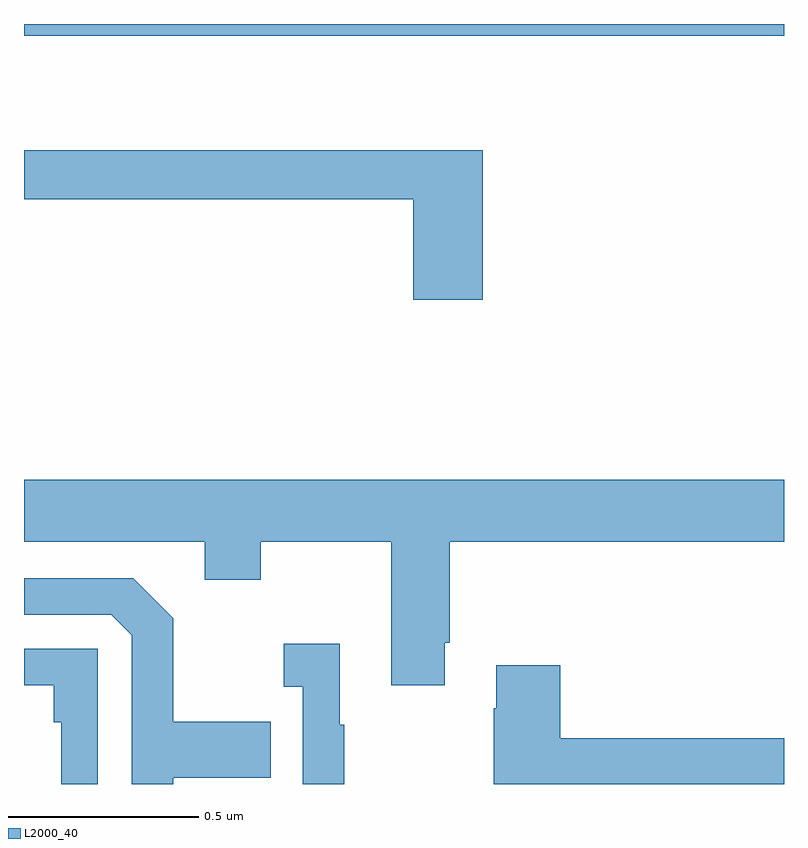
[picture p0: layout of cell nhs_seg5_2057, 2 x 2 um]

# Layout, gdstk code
import gdstk
lib = gdstk.Library(unit=1e-6, precision=1e-09)
def R(c, l, rs):  # rectangles x0, y0, x1, y1
    for r in rs: c.add(gdstk.rectangle(r[:2], r[2:], *l))
def P(c, l, *ps):  # polygons
    for p in ps: c.add(gdstk.Polygon(p, *l))
L2000_40 = (2000, 40)

nhs_seg5_2057 = lib.new_cell('nhs_seg5_2057')
R(nhs_seg5_2057, L2000_40, [(139,848.768,141,848.799)])
P(nhs_seg5_2057, L2000_40, [(140.207,848.467),(139,848.467),(139,848.338),(140.024,848.338),(140.024,848.073),(140.207,848.073)],
  [(140.107,847.171),(140.12,847.171),(140.12,847.436),(141,847.436),(141,847.6),(139,847.6),(139,847.436),(139.475,847.436),(139.475,847.337),(139.623,847.337),(139.623,847.436),(139.967,847.436),(139.967,847.059),(140.107,847.059)],
  [(139.393,846.815),(139.649,846.815),(139.649,846.963),(139.393,846.963),(139.393,847.235),(139.287,847.341),(139,847.341),(139,847.245),(139.23,847.245),(139.284,847.191),(139.284,846.799),(139.393,846.799)],
  [(139.843,846.955),(139.831,846.955),(139.831,847.168),(139.683,847.168),(139.683,847.055),(139.734,847.055),(139.734,846.799),(139.843,846.799)],
  [(139.194,847.155),(139,847.155),(139,847.059),(139.078,847.059),(139.078,846.962),(139.098,846.962),(139.098,846.799),(139.194,846.799)],
  [(141,846.92),(140.411,846.92),(140.411,847.111),(140.243,847.111),(140.243,846.998),(140.236,846.998),(140.236,846.799),(141,846.799)])

lib.write_gds('nhs_seg5_2057.gds')
